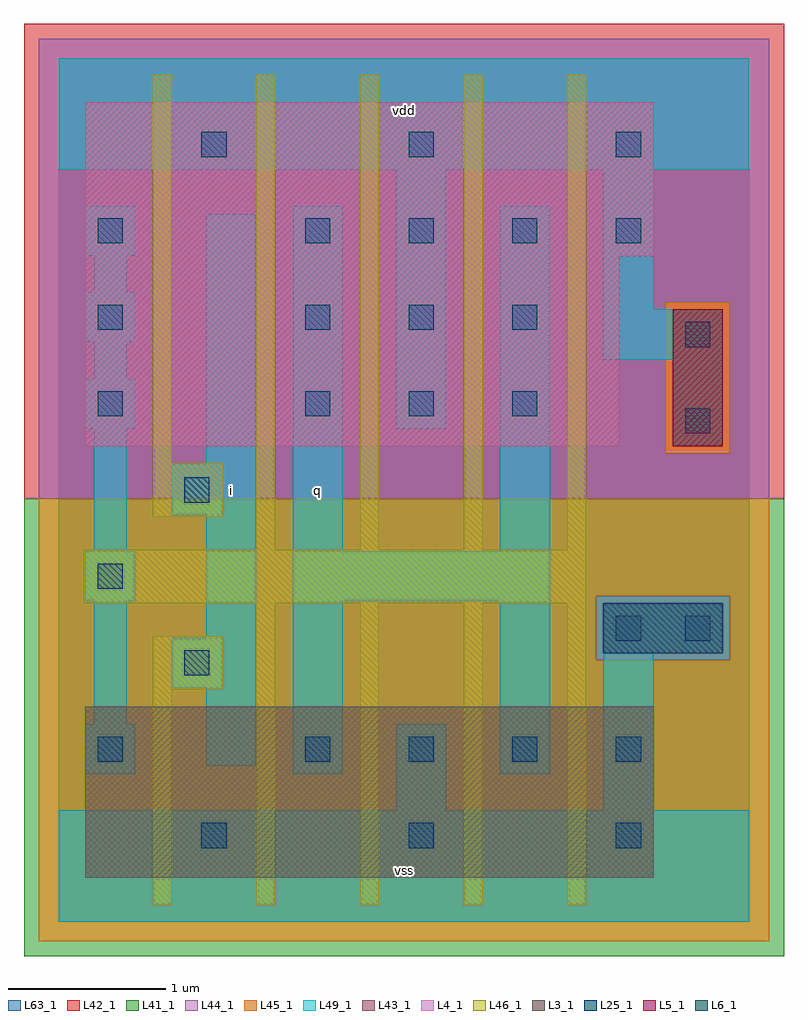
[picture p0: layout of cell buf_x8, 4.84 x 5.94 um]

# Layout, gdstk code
import gdstk
lib = gdstk.Library(unit=1e-6, precision=1e-09)
def R(c, l, rs):  # rectangles x0, y0, x1, y1
    for r in rs: c.add(gdstk.rectangle(r[:2], r[2:], *l))
def A(c, l, x, y, w, h, nx, ny, dx, dy):  # array of equal rectangles
    R(c, l, [(x+i*dx, y+j*dy, x+i*dx+w, y+j*dy+h) for i in range(nx) for j in range(ny)])
L3_1 = (3, 1)
L4_1 = (4, 1)
L5_1 = (5, 1)
L6_1 = (6, 1)
L25_1 = (25, 1)
L41_1 = (41, 1)
L42_1 = (42, 1)
L43_1 = (43, 1)
L44_1 = (44, 1)
L45_1 = (45, 1)
L46_1 = (46, 1)
L49_1 = (49, 1)
L63_1 = (63, 1)

buf_x8 = lib.new_cell('buf_x8')
R(buf_x8, L3_1, [(0.17,0.28,3.79,1.37)])
R(buf_x8, L4_1, [(0.17,3.03,3.57,4.24), (0.17,4.24,3.79,5.22)])
R(buf_x8, L5_1, [(3.91,3.03,4.23,3.9)])
R(buf_x8, L6_1, [(3.47,1.71,4.23,2.03)])
A(buf_x8, L25_1, 0.91, 0.47, 0.16, 0.16, 3, 2, 1.32, 4.4)
A(buf_x8, L25_1, 0.25, 1.02, 0.16, 0.16, 1, 3, 0, 1.1)
A(buf_x8, L25_1, 1.57, 1.02, 0.16, 0.16, 4, 2, 0.66, 3.3)
A(buf_x8, L25_1, 1.57, 3.22, 0.16, 0.16, 3, 2, 0.66, 0.55)
R(buf_x8, L25_1, [(0.8,1.57,0.96,1.73), (3.55,1.79,3.71,1.95), (3.99,1.79,4.15,1.95), (0.8,2.67,0.96,2.83), (3.99,3.11,4.15,3.27), (3.99,3.66,4.15,3.82), (0.25,3.77,0.41,3.93), (0.25,4.32,0.41,4.48)])
R(buf_x8, L41_1, [(-0.22,-0.22,4.62,2.695)])
R(buf_x8, L42_1, [(-0.22,2.695,4.62,5.72)])
R(buf_x8, L43_1, [(0.17,0.28,3.79,1.37), (3.47,1.71,4.23,2.03), (0.17,3.03,3.57,4.24), (3.91,3.03,4.23,3.9), (0.17,4.24,3.79,5.22)])
R(buf_x8, L44_1, [(3.425,1.665,4.275,2.075), (-0.125,2.695,4.525,2.985), (-0.125,2.985,3.865,3.945), (4.275,2.985,4.525,3.945), (-0.125,3.945,4.525,5.625)])
R(buf_x8, L45_1, [(-0.125,-0.125,4.525,1.665), (-0.125,1.665,3.425,2.075), (4.275,1.665,4.525,2.075), (-0.125,2.075,4.525,2.695), (3.865,2.985,4.275,3.945)])
A(buf_x8, L46_1, 1.26, 0.105, 0.12, 1.925, 4, 1, 0.66, 0)
A(buf_x8, L46_1, 1.26, 2.37, 0.12, 3.025, 4, 1, 0.66, 0)
R(buf_x8, L46_1, [(0.6,0.105,0.72,1.48), (0.6,1.48,1.05,1.82), (0.16,2.03,3.36,2.37), (0.6,2.58,1.05,2.92), (0.6,2.92,0.72,5.395)])
A(buf_x8, L49_1, 0.17, 0.94, 0.32, 0.32, 1, 3, 0, 1.1)
R(buf_x8, L49_1, [(0,0,4.4,0.71), (2.15,0.71,2.47,1.26), (3.47,0.71,3.79,1.71), (1.49,0.94,1.81,2.04), (2.81,0.94,3.13,2.04), (0.94,0.995,1.26,1.49), (0.225,1.26,0.435,2.04), (0.72,1.49,1.26,1.81), (3.47,1.71,4.23,2.03), (0.94,1.81,1.26,2.59), (1.49,2.04,3.13,2.36), (0.225,2.36,0.435,3.14), (1.49,2.36,1.81,4.56), (2.81,2.36,3.13,4.56), (0.72,2.59,1.26,2.91), (0.94,2.91,1.26,4.505), (3.91,3.03,4.23,3.58), (2.15,3.14,2.47,4.79), (0.225,3.46,0.435,3.69), (3.47,3.58,4.23,3.9), (0.17,3.69,0.49,4.01), (3.47,3.9,3.79,4.79), (0.225,4.01,0.435,4.24), (0.17,4.24,0.49,4.56), (0,4.79,4.4,5.5)])
R(buf_x8, L63_1, [(0,0,4.4,5.5)])
buf_x8.add(gdstk.Label('q', (1.65,2.75), layer=49, texttype=1))
buf_x8.add(gdstk.Label('q', (1.65,2.75), layer=49, texttype=1))
buf_x8.add(gdstk.Label('i', (1.1,2.75), layer=49, texttype=1))
buf_x8.add(gdstk.Label('i', (1.1,2.75), layer=49, texttype=1))
buf_x8.add(gdstk.Label('vss', (2.2,0.33), layer=49, texttype=1))
buf_x8.add(gdstk.Label('vss', (2.2,0.33), layer=49, texttype=1))
buf_x8.add(gdstk.Label('vdd', (2.2,5.17), layer=49, texttype=1))
buf_x8.add(gdstk.Label('vdd', (2.2,5.17), layer=49, texttype=1))

lib.write_gds('buf_x8.gds')
